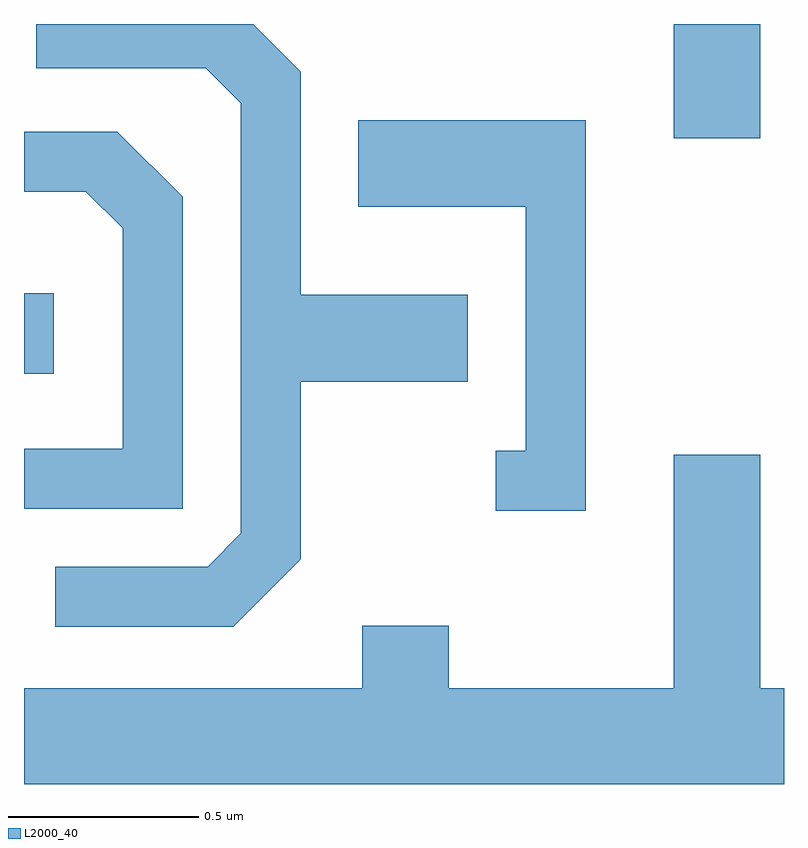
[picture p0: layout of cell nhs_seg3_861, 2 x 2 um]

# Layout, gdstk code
import gdstk
lib = gdstk.Library(unit=1e-6, precision=1e-09)
def R(c, l, rs):  # rectangles x0, y0, x1, y1
    for r in rs: c.add(gdstk.rectangle(r[:2], r[2:], *l))
def P(c, l, *ps):  # polygons
    for p in ps: c.add(gdstk.Polygon(p, *l))
L2000_40 = (2000, 40)

nhs_seg3_861 = lib.new_cell('nhs_seg3_861')
R(nhs_seg3_861, L2000_40, [(191.611,1155.971,191.689,1156.184), (193.321,1156.591,193.549,1156.892)])
P(nhs_seg3_861, L2000_40, [(192.339,1155.484),(192.339,1155.951),(192.779,1155.951),(192.779,1156.179),(192.339,1156.179),(192.339,1156.767),(192.214,1156.892),(191.643,1156.892),(191.643,1156.776),(192.089,1156.776),(192.181,1156.684),(192.181,1155.552),(192.094,1155.464),(191.693,1155.464),(191.693,1155.306),(192.162,1155.306)],
  [(193.089,1156.639),(192.491,1156.639),(192.491,1156.411),(192.931,1156.411),(192.931,1155.769),(192.853,1155.769),(192.853,1155.611),(193.089,1155.611)],
  [(192.029,1156.437),(191.857,1156.609),(191.611,1156.609),(191.611,1156.451),(191.774,1156.451),(191.871,1156.354),(191.871,1155.774),(191.611,1155.774),(191.611,1155.616),(192.029,1155.616)],
  [(193.611,1155.144),(193.549,1155.144),(193.549,1155.759),(193.321,1155.759),(193.321,1155.144),(192.729,1155.144),(192.729,1155.309),(192.501,1155.309),(192.501,1155.144),(191.611,1155.144),(191.611,1154.892),(193.611,1154.892)])

lib.write_gds('nhs_seg3_861.gds')
